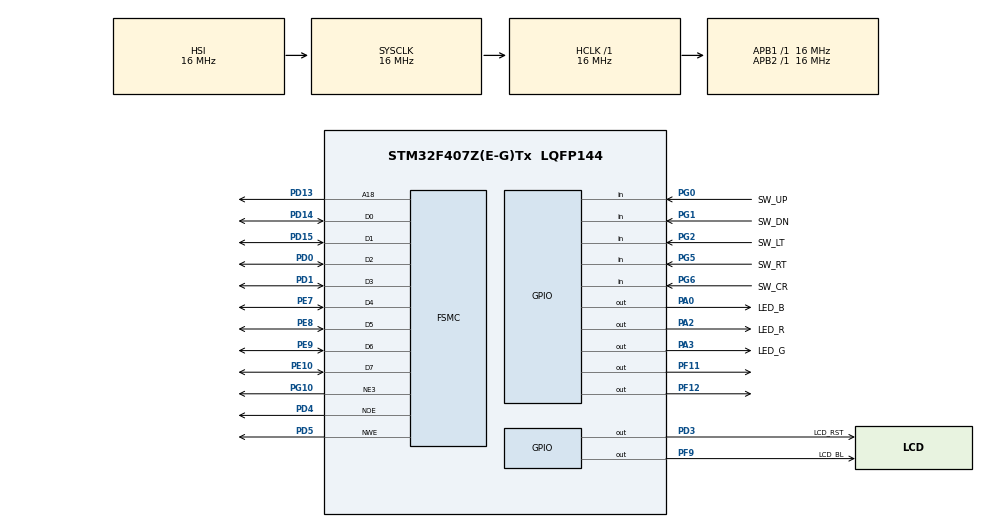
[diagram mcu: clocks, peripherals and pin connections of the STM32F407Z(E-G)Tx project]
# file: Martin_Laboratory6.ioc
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FSMC.AddressSetupTime1=1
FSMC.BusTurnAroundDuration1=0
FSMC.DataSetupTime1=60
Mcu.Family=STM32F4
Mcu.Name=STM32F407Z(E-G)Tx
Mcu.Package=LQFP144
NVIC.PriorityGroup=NVIC_PRIORITYGROUP_4
PA0-WKUP.GPIO_Label=LED_B
PA0-WKUP.PinState=GPIO_PIN_SET
PA0-WKUP.Signal=GPIO_Output
PA2.GPIO_Label=LED_R
PA2.PinState=GPIO_PIN_SET
PA2.Signal=GPIO_Output
PA3.GPIO_Label=LED_G
PA3.PinState=GPIO_PIN_SET
PA3.Signal=GPIO_Output
PD0.Signal=FSMC_D2_DA2
PD1.Signal=FSMC_D3_DA3
PD13.Signal=FSMC_A18
PD14.Signal=FSMC_D0_DA0
PD15.Signal=FSMC_D1_DA1
PD3.GPIO_Label=LCD_RST
PD3.PinState=GPIO_PIN_RESET
PD3.Signal=GPIO_Output
PD4.Signal=FSMC_NOE
PD5.Signal=FSMC_NWE
PE10.Signal=FSMC_D7_DA7
PE7.Signal=FSMC_D4_DA4
PE8.Signal=FSMC_D5_DA5
PE9.Signal=FSMC_D6_DA6
PF11.Signal=GPIO_Output
PF12.Signal=GPIO_Output
PF9.GPIO_Label=LCD_BL
PF9.PinState=GPIO_PIN_RESET
PF9.Signal=GPIO_Output
PG0.GPIO_Label=SW_UP
PG0.GPIO_PuPd=GPIO_PULLUP
PG0.Signal=GPIO_Input
PG1.GPIO_Label=SW_DN
PG1.GPIO_PuPd=GPIO_PULLUP
PG1.Signal=GPIO_Input
PG10.Mode=NorPsramChipSelect3_1
PG10.Signal=FSMC_NE3
PG2.GPIO_Label=SW_LT
PG2.GPIO_PuPd=GPIO_PULLUP
PG2.Signal=GPIO_Input
PG5.GPIO_Label=SW_RT
PG5.GPIO_PuPd=GPIO_PULLUP
PG5.Signal=GPIO_Input
PG6.GPIO_Label=SW_CR
PG6.GPIO_PuPd=GPIO_PULLUP
PG6.Signal=GPIO_Input
ProjectManager.HeapSize=0x200
ProjectManager.StackSize=0x400
ProjectManager.TargetToolchain=STM32CubeIDE
RCC.AHBFreq_Value=16000000
RCC.APB1Freq_Value=16000000
RCC.APB2Freq_Value=16000000
RCC.CortexFreq_Value=16000000
RCC.HSE_VALUE=25000000
RCC.HSI_VALUE=16000000
RCC.LSE_VALUE=32768
RCC.SYSCLKFreq_VALUE=16000000
RCC.VCOOutputFreq_Value=192000000
SH.FSMC_A18.0=FSMC_A18,A18_1
SH.FSMC_D0_DA0.0=FSMC_D0,8b-d1
SH.FSMC_D1_DA1.0=FSMC_D1,8b-d1
SH.FSMC_D2_DA2.0=FSMC_D2,8b-d1
SH.FSMC_D3_DA3.0=FSMC_D3,8b-d1
SH.FSMC_D4_DA4.0=FSMC_D4,8b-d1
SH.FSMC_D5_DA5.0=FSMC_D5,8b-d1
SH.FSMC_D6_DA6.0=FSMC_D6,8b-d1
SH.FSMC_D7_DA7.0=FSMC_D7,8b-d1
SH.FSMC_NOE.0=FSMC_NOE,Lcd1
SH.FSMC_NWE.0=FSMC_NWE,Lcd1
board=custom

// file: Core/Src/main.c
/* USER CODE BEGIN Header */
/**
  ******************************************************************************
  * @file           : main.c
  * @brief          : Main program body
  ******************************************************************************
  * @attention
  *
  * Copyright (c) 2026 STMicroelectronics.
  * All rights reserved.
  *
  * This software is licensed under terms that can be found in the LICENSE file
  * in the root directory of this software component.
  * If no LICENSE file comes with this software, it is provided AS-IS.
  *
  ******************************************************************************
  */
/* USER CODE END Header */
#include "main.h"

/* USER CODE BEGIN Includes */
#include "drv_lcd.h"

/* USER CODE END Includes */

SRAM_HandleTypeDef hsram1;

/* USER CODE BEGIN PV */

int p = 0;

/* USER CODE END PV */

void SystemClock_Config(void);
static void MX_GPIO_Init(void);
static void MX_FSMC_Init(void);

/* USER CODE BEGIN 0 */

// Switch Active-High
uint8_t switch_Up(void)     { return HAL_GPIO_ReadPin(GPIOC, GPIO_PIN_5) == GPIO_PIN_RESET; }
uint8_t switch_Down(void)   { return HAL_GPIO_ReadPin(GPIOC, GPIO_PIN_1) == GPIO_PIN_RESET; }
uint8_t switch_Left(void)   { return HAL_GPIO_ReadPin(GPIOC, GPIO_PIN_0) == GPIO_PIN_RESET; }
uint8_t switch_Right(void)  { return HAL_GPIO_ReadPin(GPIOC, GPIO_PIN_4) == GPIO_PIN_RESET; }
uint8_t switch_Center(void) { return HAL_GPIO_ReadPin(GPIOG, GPIO_PIN_6)  == GPIO_PIN_RESET; }

// LED Active-Low
void MY_LEDS_Init(void) {
    GPIO_InitTypeDef cfg = {0};

    HAL_GPIO_WritePin(GPIOA, GPIO_PIN_0 | GPIO_PIN_2 | GPIO_PIN_3, GPIO_PIN_SET);

    __HAL_RCC_GPIOA_CLK_ENABLE();
    cfg.Pin   = GPIO_PIN_0 | GPIO_PIN_2 | GPIO_PIN_3;
    cfg.Mode  = GPIO_MODE_OUTPUT_OD;   /* Open-drain — required by the RT-Spark schematic */
    cfg.Pull  = GPIO_NOPULL;
    cfg.Speed = GPIO_SPEED_FREQ_LOW;
    HAL_GPIO_Init(GPIOA, &cfg);

    RGBLED_Config(0, 0, 0);             /* All channels off */
}

void RGBLED_Config(uint8_t red, uint8_t green, uint8_t blue) {
    HAL_GPIO_WritePin(GPIOA, GPIO_PIN_2, !red);
    HAL_GPIO_WritePin(GPIOA, GPIO_PIN_3, !green);
    HAL_GPIO_WritePin(GPIOA, GPIO_PIN_0, !blue);
}

void light_leds(void) {
    RGBLED_Config(switch_Up(), switch_Center(), switch_Down());
}

void print_switches() {
	if(switch_Up()) {
		lcd_show_string(0, 0, 16, "Button Up is Pressed    ");
	} else if(switch_Down()) {
		lcd_show_string(0, 0, 16, "Button Down is Pressed  ");
	} else if(switch_Left()) {
		lcd_show_string(0, 0, 16, "Button Left is Pressed  ");
	} else if(switch_Right()) {
		lcd_show_string(0, 0, 16, "Button Right is Pressed ");
	} else if(switch_Center()) {
		lcd_show_string(0, 0, 16, "Button Center is Pressed");
	}
}

// Force pins back to inputs and pull them LOW
void MY_GPIO_Init(void) {
    GPIO_InitTypeDef cfg = {0};

    // PC buttons
    __HAL_RCC_GPIOC_CLK_ENABLE();

    cfg.Pin  = GPIO_PIN_0 | GPIO_PIN_1 | GPIO_PIN_4 | GPIO_PIN_5;
    cfg.Mode = GPIO_MODE_INPUT;
    cfg.Pull = GPIO_PULLUP;
    HAL_GPIO_Init(GPIOC, &cfg);

    // PG6 center button
    __HAL_RCC_GPIOG_CLK_ENABLE();

    cfg.Pin  = GPIO_PIN_6;
    cfg.Mode = GPIO_MODE_INPUT;
    cfg.Pull = GPIO_PULLUP;
    HAL_GPIO_Init(GPIOG, &cfg);
}

/* USER CODE END 0 */

int main(void)
{

  /* MCU Configuration--------------------------------------------------------*/

  /* Reset of all peripherals, Initializes the Flash interface and the Systick. */
  HAL_Init();

  /* Configure the system clock */
  SystemClock_Config();

  /* Initialize all configured peripherals */
  MX_GPIO_Init();
  MX_FSMC_Init();
  /* USER CODE BEGIN 2 */

    MY_GPIO_Init();
    MY_LEDS_Init();

    drv_lcd_hw_init();
    lcd_clear(BLACK);
    lcd_set_color(BLACK, WHITE);
    lcd_show_string(0, 0, 16, "Hello World!");

  /* USER CODE END 2 */

  /* Infinite loop */
  while (1)
  {

  }
}

void SystemClock_Config(void)
{
  RCC_OscInitTypeDef RCC_OscInitStruct = {0};
  RCC_ClkInitTypeDef RCC_ClkInitStruct = {0};

  /** Configure the main internal regulator output voltage
  */
  __HAL_RCC_PWR_CLK_ENABLE();
  __HAL_PWR_VOLTAGESCALING_CONFIG(PWR_REGULATOR_VOLTAGE_SCALE1);

  /** Initializes the RCC Oscillators according to the specified parameters
  * in the RCC_OscInitTypeDef structure.
  */
  RCC_OscInitStruct.OscillatorType = RCC_OSCILLATORTYPE_HSI;
  RCC_OscInitStruct.HSIState = RCC_HSI_ON;
  RCC_OscInitStruct.HSICalibrationValue = RCC_HSICALIBRATION_DEFAULT;
  RCC_OscInitStruct.PLL.PLLState = RCC_PLL_NONE;
  if (HAL_RCC_OscConfig(&RCC_OscInitStruct) != HAL_OK)
  {
    Error_Handler();
  }

  /** Initializes the CPU, AHB and APB buses clocks
  */
  RCC_ClkInitStruct.ClockType = RCC_CLOCKTYPE_HCLK|RCC_CLOCKTYPE_SYSCLK
                              |RCC_CLOCKTYPE_PCLK1|RCC_CLOCKTYPE_PCLK2;
  RCC_ClkInitStruct.SYSCLKSource = RCC_SYSCLKSOURCE_HSI;
  RCC_ClkInitStruct.AHBCLKDivider = RCC_SYSCLK_DIV1;
  RCC_ClkInitStruct.APB1CLKDivider = RCC_HCLK_DIV1;
  RCC_ClkInitStruct.APB2CLKDivider = RCC_HCLK_DIV1;

  if (HAL_RCC_ClockConfig(&RCC_ClkInitStruct, FLASH_LATENCY_0) != HAL_OK)
  {
    Error_Handler();
  }
}

static void MX_GPIO_Init(void)
{
  GPIO_InitTypeDef GPIO_InitStruct = {0};

  /* GPIO Ports Clock Enable */
  __HAL_RCC_GPIOF_CLK_ENABLE();
  __HAL_RCC_GPIOA_CLK_ENABLE();
  __HAL_RCC_GPIOG_CLK_ENABLE();
  __HAL_RCC_GPIOE_CLK_ENABLE();
  __HAL_RCC_GPIOD_CLK_ENABLE();

  /*Configure GPIO pin Output Level */
  HAL_GPIO_WritePin(GPIOF, LCD_BL_Pin|GPIO_PIN_11|GPIO_PIN_12, GPIO_PIN_RESET);

  /*Configure GPIO pin Output Level */
  HAL_GPIO_WritePin(GPIOA, LED_B_Pin|LED_R_Pin|LED_G_Pin, GPIO_PIN_SET);

  /*Configure GPIO pin Output Level */
  HAL_GPIO_WritePin(LCD_RST_GPIO_Port, LCD_RST_Pin, GPIO_PIN_RESET);

  /*Configure GPIO pins : LCD_BL_Pin PF11 PF12 */
  GPIO_InitStruct.Pin = LCD_BL_Pin|GPIO_PIN_11|GPIO_PIN_12;
  GPIO_InitStruct.Mode = GPIO_MODE_OUTPUT_PP;
  GPIO_InitStruct.Pull = GPIO_NOPULL;
  GPIO_InitStruct.Speed = GPIO_SPEED_FREQ_LOW;
  HAL_GPIO_Init(GPIOF, &GPIO_InitStruct);

  /*Configure GPIO pins : LED_B_Pin LED_R_Pin LED_G_Pin */
  GPIO_InitStruct.Pin = LED_B_Pin|LED_R_Pin|LED_G_Pin;
  GPIO_InitStruct.Mode = GPIO_MODE_OUTPUT_PP;
  GPIO_InitStruct.Pull = GPIO_NOPULL;
  GPIO_InitStruct.Speed = GPIO_SPEED_FREQ_LOW;
  HAL_GPIO_Init(GPIOA, &GPIO_InitStruct);

  /*Configure GPIO pins : SW_UP_Pin SW_DN_Pin SW_LT_Pin SW_RT_Pin
                           SW_CR_Pin */
  GPIO_InitStruct.Pin = SW_UP_Pin|SW_DN_Pin|SW_LT_Pin|SW_RT_Pin
                          |SW_CR_Pin;
  GPIO_InitStruct.Mode = GPIO_MODE_INPUT;
  GPIO_InitStruct.Pull = GPIO_PULLUP;
  HAL_GPIO_Init(GPIOG, &GPIO_InitStruct);

  /*Configure GPIO pin : LCD_RST_Pin */
  GPIO_InitStruct.Pin = LCD_RST_Pin;
  GPIO_InitStruct.Mode = GPIO_MODE_OUTPUT_PP;
  GPIO_InitStruct.Pull = GPIO_NOPULL;
  GPIO_InitStruct.Speed = GPIO_SPEED_FREQ_LOW;
  HAL_GPIO_Init(LCD_RST_GPIO_Port, &GPIO_InitStruct);

}

/* FSMC initialization function */
static void MX_FSMC_Init(void)
{

  FSMC_NORSRAM_TimingTypeDef Timing = {0};

  /** Perform the SRAM1 memory initialization sequence
  */
  hsram1.Instance = FSMC_NORSRAM_DEVICE;
  hsram1.Extended = FSMC_NORSRAM_EXTENDED_DEVICE;
  /* hsram1.Init */
  hsram1.Init.NSBank = FSMC_NORSRAM_BANK3;
  hsram1.Init.DataAddressMux = FSMC_DATA_ADDRESS_MUX_DISABLE;
  hsram1.Init.MemoryType = FSMC_MEMORY_TYPE_SRAM;
  hsram1.Init.MemoryDataWidth = FSMC_NORSRAM_MEM_BUS_WIDTH_8;
  hsram1.Init.BurstAccessMode = FSMC_BURST_ACCESS_MODE_DISABLE;
  hsram1.Init.WaitSignalPolarity = FSMC_WAIT_SIGNAL_POLARITY_LOW;
  hsram1.Init.WrapMode = FSMC_WRAP_MODE_DISABLE;
  hsram1.Init.WaitSignalActive = FSMC_WAIT_TIMING_BEFORE_WS;
  hsram1.Init.WriteOperation = FSMC_WRITE_OPERATION_ENABLE;
  hsram1.Init.WaitSignal = FSMC_WAIT_SIGNAL_DISABLE;
  hsram1.Init.ExtendedMode = FSMC_EXTENDED_MODE_DISABLE;
  hsram1.Init.AsynchronousWait = FSMC_ASYNCHRONOUS_WAIT_DISABLE;
  hsram1.Init.WriteBurst = FSMC_WRITE_BURST_DISABLE;
  hsram1.Init.PageSize = FSMC_PAGE_SIZE_NONE;
  /* Timing */
  Timing.AddressSetupTime = 1;
  Timing.AddressHoldTime = 15;
  Timing.DataSetupTime = 60;
  Timing.BusTurnAroundDuration = 0;
  Timing.CLKDivision = 16;
  Timing.DataLatency = 17;
  Timing.AccessMode = FSMC_ACCESS_MODE_A;
  /* ExtTiming */

  if (HAL_SRAM_Init(&hsram1, &Timing, NULL) != HAL_OK)
  {
    Error_Handler( );
  }

}

/* USER CODE BEGIN 4 */

int _write(int file, char *ptr, int len)
{
  int i = 0;
  for (i = 0; i < len; i++)
  {
    ITM_SendChar((*ptr++));
  }
  return len;
}

/* USER CODE END 4 */

void Error_Handler(void)
{
  __disable_irq();
  while (1)
  {
  }
}
